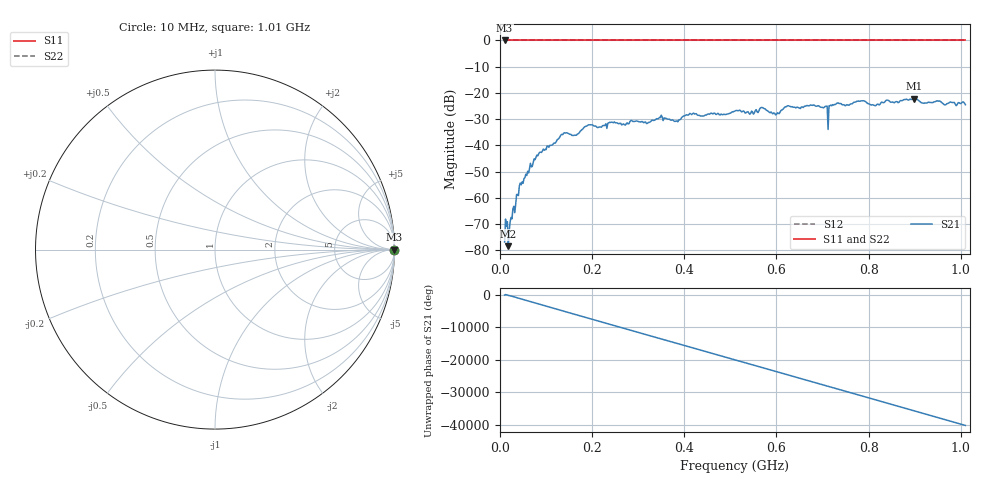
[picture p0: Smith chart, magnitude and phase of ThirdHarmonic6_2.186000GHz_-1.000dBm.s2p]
! 8/17/2025 2:04:15 AM
! C:\ANRITSUVNA\TEMP\TEMP.S2P
! CHANNEL.1
! TR.MEASUREMENT
! RAW.DATA
! RF.CORRECTION.OFF
! AVERAGING.OFF
! IF.BANDWIDTH: 5KHZ
! SWEEPTYPE:  FREQ.SWEEP(Linear)
! Reference Plane Port Info
! PORT:  PORT1  PORT2
! DISTANCE:  0  m  0  m
! TIME:  0  s  0  s
! PHASE.OFFSET:  0  deg.  0  deg.
! LOSS:  0  dB  0  dB
! REF.LOSS:  0  dB  0  dB
! REF.FREQ:  0  Hz  0  Hz
! Power Info
! POWER:  -20  dBm  -20  dBm
! EFF.POWER:  -20  dBm  -20  dBm
! SOURCE.ATTEN:  0  dB  0  dB
! TEST.ATTEN:  0  dB  0  dB
# GHZ S RI R 50.0
! FREQ.GHZ  S11RE  S11IM  S21RE  S21IM  S12RE  S12IM  S22RE  S22IM
!; PortSelection: Port_12
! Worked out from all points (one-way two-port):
!   501 points, 10 MHz to 1.01 GHz, reference 50 ohm
!   highest |S21| = -22.21 dB at 898 MHz (marker M1); lowest = -78.4 dB at 18 MHz (marker M2)
!   lowest |S11| = 0.0 dB at 10 MHz (marker M3)
!   |S11| at or under -10 dB: nowhere
!   |S22| runs from 0.0 to 0.0 dB; largest |S21 - S12| = 1.1
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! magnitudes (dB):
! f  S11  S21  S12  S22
! 10 MHz  0.0  -76.8  0.0  0.0
! 18 MHz  0.0  -78.4  0.0  0.0
! 22 MHz  0.0  -69.1  0.0  0.0
! 26 MHz  0.0  -68.0  0.0  0.0
! 40 MHz  0.0  -59.1  0.0  0.0
! 82 MHz  0.0  -44.0  0.0  0.0
! 136 MHz  0.0  -35.9  0.0  0.0
! 162 MHz  0.0  -36.1  0.0  0.0
! 178 MHz  0.0  -34.0  0.0  0.0
! 344 MHz  0.0  -29.8  0.0  0.0
! 382 MHz  0.0  -30.7  0.0  0.0
! 416 MHz  0.0  -28.3  0.0  0.0
! 510 MHz  0.0  -26.9  0.0  0.0
! 570 MHz  0.0  -25.6  0.0  0.0
! 602 MHz  0.0  -27.6  0.0  0.0
! 622 MHz  0.0  -25.2  0.0  0.0
! 678 MHz  0.0  -24.7  0.0  0.0
! 708 MHz  0.0  -25.1  0.0  0.0
! 734 MHz  0.0  -23.8  0.0  0.0
! 844 MHz  0.0  -23.0  0.0  0.0
! 898 MHz  0.0  -22.2  0.0  0.0
! 1.01 GHz  0.0  -24.5  0.0  0.0
